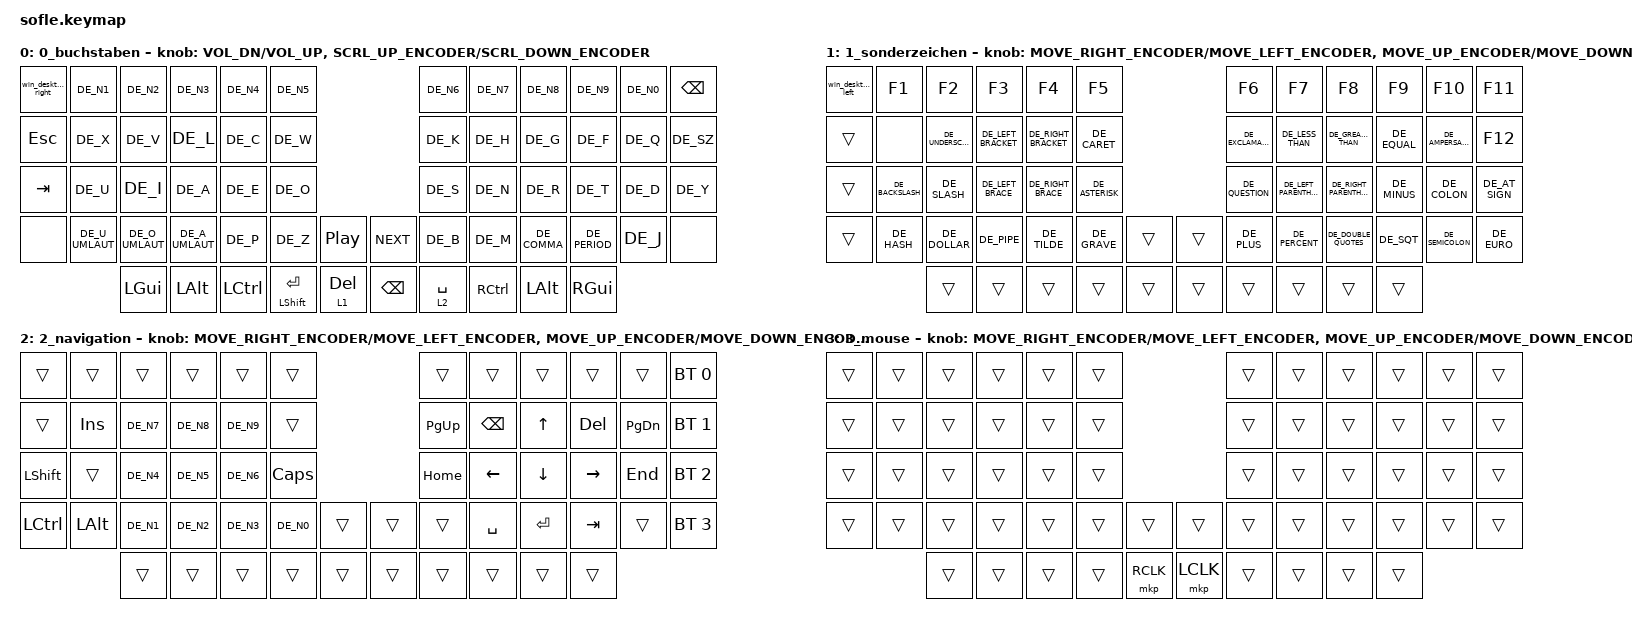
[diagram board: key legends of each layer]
/*
 * Copyright (c) 2020 The ZMK Contributors
 *
 * SPDX-License-Identifier: MIT
 */

#include <behaviors.dtsi>
#include <dt-bindings/zmk/bt.h>
#include <dt-bindings/zmk/keys.h>
#include <dt-bindings/zmk/pointing.h>
#include "keys_de.h"

#include <dt-bindings/zmk/mouse.h>
#include <behaviors/mouse_keys.dtsi> 

#include "macros.dtsi"
#include "mouse.dtsi"


&lt {
    // Layer Tap Behavior (Space / Layer2). 
    flavor = "hold-preferred";
    quick-tap-ms = <150>; 
};


/ {

    // Positionen den beiden Windowstasten im Layout
    #define POS_LGUI 50
    #define POS_RGUI 59

    combos {
        compatible = "zmk,combos";

        combo_gui_layer {
            timeout-ms = <50>;
            key-positions = <POS_LGUI POS_RGUI>;
            bindings = <&mo 3>;      // Layer 3 aktivieren solange gedrückt
        };
    };

    keymap {
        compatible = "zmk,keymap";

        default_layer {
            display-name = "0_buchstaben";

            // Basislayer des NEO-Layouts

            bindings = <
&win_desktop_right  &kp DE_N1        &kp DE_N2        &kp DE_N3        &kp DE_N4         &kp DE_N5                                              &kp DE_N6    &kp DE_N7  &kp DE_N8     &kp DE_N9      &kp DE_N0  &kp BACKSPACE
&kp ESC             &kp DE_X         &kp DE_V         &kp DE_L         &kp DE_C          &kp DE_W                                               &kp DE_K     &kp DE_H   &kp DE_G      &kp DE_F       &kp DE_Q   &kp DE_SZ
&kp TAB             &kp DE_U         &kp DE_I         &kp DE_A         &kp DE_E          &kp DE_O                                               &kp DE_S     &kp DE_N   &kp DE_R      &kp DE_T       &kp DE_D   &kp DE_Y
&none               &kp DE_U_UMLAUT  &kp DE_O_UMLAUT  &kp DE_A_UMLAUT  &kp DE_P          &kp DE_Z            &kp C_PLAY_PAUSE    &kp C_NEXT     &kp DE_B     &kp DE_M   &kp DE_COMMA  &kp DE_PERIOD  &kp DE_J   &none
                                     &kp LGUI         &kp LALT         &kp LEFT_CONTROL  &mt LEFT_SHIFT RET  &lt 1 DELETE        &kp BACKSPACE  &lt 2 SPACE  &kp RCTRL  &kp LEFT_ALT  &kp RGUI
            >;

            sensor-bindings = <&inc_dec_kp C_VOL_DN C_VOL_UP &inc_dec_msc SCRL_UP_ENCODER SCRL_DOWN_ENCODER>;
        };

        lower_layer {
            display-name = "1_sonderzeichen";

            // Sonderzeichen-Layer des NEO-Layouts
            // - Zeichen auf X fehlt

            bindings = <
&win_desktop_left  &kp F1            &kp F2             &kp F3               &kp F4                &kp F5                             &kp F6              &kp F7                   &kp F8                    &kp F9        &kp F10           &kp F11
&trans             &none             &kp DE_UNDERSCORE  &kp DE_LEFT_BRACKET  &kp DE_RIGHT_BRACKET  &kp DE_CARET                       &kp DE_EXCLAMATION  &kp DE_LESS_THAN         &kp DE_GREATER_THAN       &kp DE_EQUAL  &kp DE_AMPERSAND  &kp F12
&trans             &kp DE_BACKSLASH  &kp DE_SLASH       &kp DE_LEFT_BRACE    &kp DE_RIGHT_BRACE    &kp DE_ASTERISK                    &kp DE_QUESTION     &kp DE_LEFT_PARENTHESIS  &kp DE_RIGHT_PARENTHESIS  &kp DE_MINUS  &kp DE_COLON      &kp DE_AT_SIGN
&trans             &kp DE_HASH       &kp DE_DOLLAR      &kp DE_PIPE          &kp DE_TILDE          &kp DE_GRAVE     &trans    &trans  &kp DE_PLUS         &kp DE_PERCENT           &kp DE_DOUBLE_QUOTES      &kp DE_SQT    &kp DE_SEMICOLON  &kp DE_EURO
                                     &trans             &trans               &trans                &trans           &trans    &trans  &trans              &trans                   &trans                    &trans
            >;

            sensor-bindings = <&inc_dec_mmv MOVE_RIGHT_ENCODER MOVE_LEFT_ENCODER &inc_dec_mmv MOVE_UP_ENCODER MOVE_DOWN_ENCODER>;
        };

        raise_layer {
            display-name = "2_navigation";

            // Angelegt an Layer 4 des NEO-Layouts
            // - Seiten vertauscht, weil Pfeiltasten auf der rechten Hand für mich besser funktionieren (dann kann links STRG/ALT/SHIFT drücken)
            
            bindings = <
&trans          &trans        &trans     &trans     &trans     &trans                      &trans            &trans         &trans          &trans          &trans     &bt BT_SEL 0
&trans          &kp INS       &kp DE_N7  &kp DE_N8  &kp DE_N9  &trans                      &kp PG_UP         &kp BACKSPACE  &kp UP          &kp DELETE      &kp PG_DN  &bt BT_SEL 1
&kp LEFT_SHIFT  &trans        &kp DE_N4  &kp DE_N5  &kp DE_N6  &kp CLCK                    &kp HOME          &kp LEFT       &kp DOWN        &kp RIGHT       &kp END    &bt BT_SEL 2
&kp LCTRL       &kp LEFT_ALT  &kp DE_N1  &kp DE_N2  &kp DE_N3  &kp DE_N0 &trans    &trans  &trans            &kp SPACE      &kp ENTER       &kp TAB         &trans     &bt BT_SEL 3
                              &trans     &trans     &trans     &trans    &trans    &trans  &trans            &trans         &trans          &trans
            >;

            sensor-bindings = <&inc_dec_mmv MOVE_RIGHT_ENCODER MOVE_LEFT_ENCODER &inc_dec_mmv MOVE_UP_ENCODER MOVE_DOWN_ENCODER>;
        };


        mouse_layer {
            display-name = "3_mouse";

            // Layer für die Steuerung der Maus
            
            bindings = <
&trans          &trans          &trans      &trans      &trans      &trans                                  &trans          &trans      &trans      &trans          &trans      &trans
&trans          &trans          &trans      &trans      &trans      &trans                                  &trans          &trans      &trans      &trans          &trans      &trans
&trans          &trans          &trans      &trans      &trans      &trans                                  &trans          &trans      &trans      &trans          &trans      &trans
&trans          &trans          &trans      &trans      &trans      &trans      &trans          &trans      &trans          &trans      &trans      &trans          &trans      &trans
                                &trans      &trans      &trans      &trans      &mkp RCLK       &mkp LCLK   &trans          &trans      &trans      &trans
            >;

            sensor-bindings = <&inc_dec_mmv MOVE_RIGHT_ENCODER MOVE_LEFT_ENCODER &inc_dec_mmv MOVE_UP_ENCODER MOVE_DOWN_ENCODER>;
        };
        
    };
};
